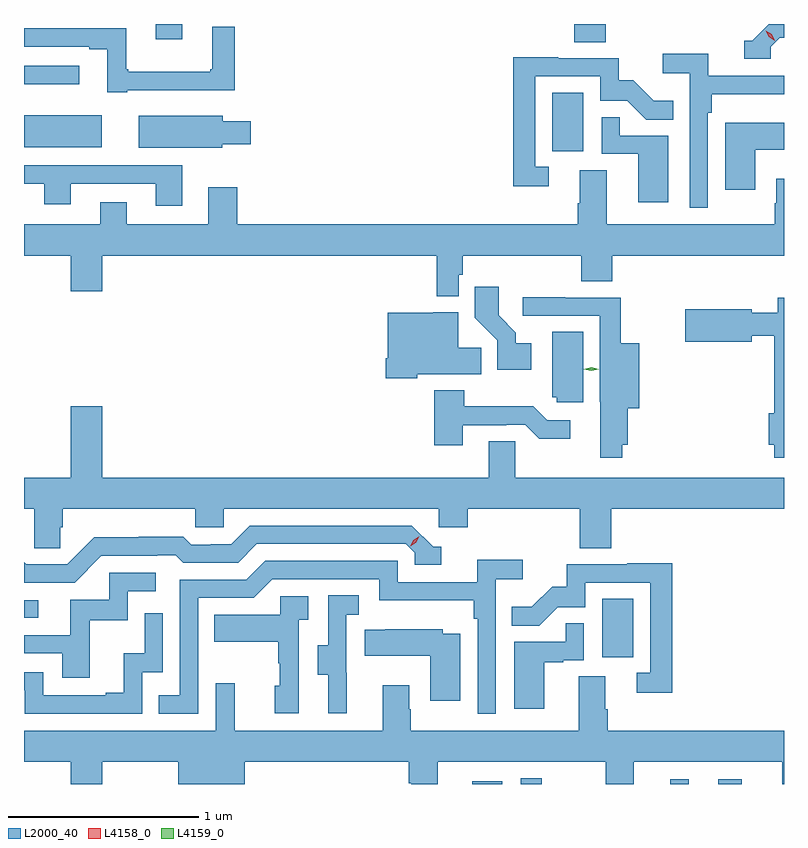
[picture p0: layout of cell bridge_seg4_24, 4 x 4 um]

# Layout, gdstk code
import gdstk
lib = gdstk.Library(unit=1e-6, precision=1e-09)
def R(c, l, rs):  # rectangles x0, y0, x1, y1
    for r in rs: c.add(gdstk.rectangle(r[:2], r[2:], *l))
def P(c, l, *ps):  # polygons
    for p in ps: c.add(gdstk.Polygon(p, *l))
L2000_40 = (2000, 40)
L4158_0 = (4158, 0)
L4159_0 = (4159, 0)

bridge_seg4_24 = lib.new_cell('bridge_seg4_24')
R(bridge_seg4_24, L2000_40, [(1102.184,784.715,1102.342,784.729), (1102.44,784.715,1102.549,784.744), (1103.225,784.715,1103.323,784.741), (1103.478,784.715,1103.602,784.741), (1102.868,785.382,1103.032,785.689), (1099.825,785.589,1099.9,785.682), (1102.604,788.046,1102.768,788.353), (1099.826,788.066,1100.233,788.236), (1099.825,788.399,1100.116,788.496), (1102.721,788.62,1102.886,788.715), (1100.519,788.634,1100.659,788.715)])
P(bridge_seg4_24, L2000_40, [(1103.754,788.595),(1103.802,788.643),(1103.825,788.643),(1103.825,788.715),(1103.745,788.715),(1103.658,788.628),(1103.615,788.628),(1103.615,788.532),(1103.754,788.532)],
  [(1100.368,788.366),(1100.933,788.366),(1100.933,788.701),(1100.816,788.701),(1100.816,788.476),(1100.805,788.476),(1100.805,788.464),(1100.374,788.464),(1100.374,788.476),(1100.362,788.476),(1100.362,788.692),(1099.825,788.692),(1099.825,788.595),(1100.168,788.595),(1100.168,788.583),(1100.264,788.583),(1100.264,788.355),(1100.368,788.355)],
  [(1103.424,788.249),(1103.444,788.249),(1103.444,788.345),(1103.825,788.345),(1103.825,788.442),(1103.426,788.442),(1103.426,788.558),(1103.187,788.558),(1103.187,788.456),(1103.328,788.456),(1103.328,787.749),(1103.424,787.749)],
  [(1102.588,787.965),(1102.515,787.965),(1102.515,788.439),(1102.857,788.439),(1102.857,788.31),(1103.001,788.31),(1103.099,788.212),(1103.243,788.212),(1103.243,788.311),(1103.139,788.311),(1103.032,788.418),(1102.956,788.418),(1102.956,788.535),(1102.637,788.535),(1102.637,788.54),(1102.399,788.54),(1102.399,787.86),(1102.588,787.86)],
  [(1100.868,788.081),(1101.019,788.081),(1101.019,788.203),(1100.872,788.203),(1100.872,788.233),(1100.429,788.233),(1100.429,788.063),(1100.868,788.063)],
  [(1103.215,788.127),(1102.961,788.127),(1102.961,788.225),(1102.866,788.225),(1102.866,788.031),(1103.057,788.031),(1103.057,787.776),(1103.215,787.776)],
  [(1103.674,788.054),(1103.825,788.054),(1103.825,788.194),(1103.516,788.194),(1103.516,787.842),(1103.674,787.842)],
  [(1100.659,787.971),(1099.825,787.971),(1099.825,787.875),(1099.931,787.875),(1099.931,787.766),(1100.071,787.766),(1100.071,787.875),(1100.519,787.875),(1100.519,787.758),(1100.659,787.758)],
  [(1102.113,787.395),(1102.133,787.395),(1102.133,787.496),(1102.757,787.496),(1102.757,787.36),(1102.922,787.36),(1102.922,787.496),(1103.825,787.496),(1103.825,787.9),(1103.783,787.9),(1103.783,787.772),(1103.776,787.772),(1103.776,787.66),(1102.891,787.66),(1102.891,787.946),(1102.751,787.946),(1102.751,787.772),(1102.739,787.772),(1102.739,787.66),(1100.948,787.66),(1100.948,787.855),(1100.795,787.855),(1100.795,787.66),(1100.365,787.66),(1100.365,787.777),(1100.225,787.777),(1100.225,787.66),(1099.825,787.66),(1099.825,787.496),(1100.072,787.496),(1100.072,787.308),(1100.236,787.308),(1100.236,787.496),(1101.997,787.496),(1101.997,787.283),(1102.113,787.283)],
  [(1102.495,787.036),(1102.414,787.036),(1102.414,787.091),(1102.324,787.181),(1102.324,787.333),(1102.198,787.333),(1102.198,787.17),(1102.317,787.051),(1102.317,786.896),(1102.495,786.896)],
  [(1102.973,786.5),(1103.003,786.5),(1103.003,786.692),(1103.062,786.692),(1103.062,787.036),(1102.966,787.036),(1102.966,787.275),(1102.673,787.275),(1102.673,787.278),(1102.449,787.278),(1102.449,787.179),(1102.856,787.179),(1102.856,786.726),(1102.857,786.726),(1102.857,786.432),(1102.973,786.432)],
  [(1103.825,787.275),(1103.792,787.275),(1103.792,787.195),(1103.656,787.195),(1103.656,787.213),(1103.304,787.213),(1103.304,787.043),(1103.656,787.043),(1103.656,787.074),(1103.773,787.074),(1103.773,786.666),(1103.744,786.666),(1103.744,786.5),(1103.773,786.5),(1103.773,786.432),(1103.825,786.432)],
  [(1101.894,786.872),(1102.232,786.872),(1102.232,787.01),(1102.111,787.01),(1102.111,787.198),(1101.978,787.198),(1101.978,787.195),(1101.74,787.195),(1101.74,786.955),(1101.728,786.955),(1101.728,786.851),(1101.894,786.851)],
  [(1102.768,787.094),(1102.604,787.094),(1102.604,786.75),(1102.629,786.75),(1102.629,786.723),(1102.768,786.723)],
  [(1102.135,786.603),(1102.364,786.603),(1102.364,786.606),(1102.464,786.606),(1102.537,786.533),(1102.699,786.533),(1102.699,786.63),(1102.578,786.63),(1102.505,786.703),(1102.143,786.703),(1102.143,786.787),(1101.983,786.787),(1101.983,786.498),(1102.135,786.498)],
  [(1100.015,786.066),(1100.03,786.066),(1100.03,786.164),(1100.727,786.164),(1100.727,786.066),(1100.877,786.066),(1100.877,786.164),(1102.008,786.164),(1102.008,786.066),(1102.16,786.066),(1102.16,786.164),(1102.751,786.164),(1102.751,785.956),(1102.916,785.956),(1102.916,786.164),(1103.825,786.164),(1103.825,786.328),(1102.41,786.328),(1102.41,786.518),(1102.271,786.518),(1102.271,786.328),(1100.236,786.328),(1100.236,786.703),(1100.072,786.703),(1100.072,786.328),(1099.825,786.328),(1099.825,786.164),(1099.878,786.164),(1099.878,785.956),(1100.015,785.956)],
  [(1100.232,785.916),(1100.525,785.916),(1100.525,785.919),(1100.624,785.919),(1100.663,785.88),(1100.952,785.88),(1101.051,785.979),(1101.834,785.979),(1101.882,785.931),(1101.882,785.868),(1102.021,785.868),(1102.021,785.964),(1101.978,785.964),(1101.867,786.075),(1101.014,786.075),(1100.915,785.976),(1100.808,785.976),(1100.808,785.973),(1100.705,785.973),(1100.663,786.016),(1100.43,786.016),(1100.43,786.013),(1100.194,786.013),(1100.052,785.871),(1099.836,785.871),(1099.825,785.882),(1099.825,785.775),(1100.091,785.775)],
  [(1100.742,785.694),(1101.033,785.694),(1101.132,785.793),(1101.696,785.793),(1101.696,785.681),(1102.192,785.681),(1102.192,785.585),(1102.212,785.585),(1102.212,785.085),(1102.308,785.085),(1102.308,785.792),(1102.45,785.792),(1102.45,785.894),(1102.211,785.894),(1102.211,785.778),(1101.792,785.778),(1101.792,785.889),(1101.095,785.889),(1100.996,785.79),(1100.646,785.79),(1100.646,785.181),(1100.533,785.181),(1100.533,785.085),(1100.742,785.085)],
  [(1103.237,785.876),(1102.999,785.876),(1102.999,785.871),(1102.681,785.871),(1102.681,785.754),(1102.604,785.754),(1102.497,785.647),(1102.393,785.647),(1102.393,785.548),(1102.537,785.548),(1102.635,785.646),(1102.779,785.646),(1102.779,785.775),(1103.121,785.775),(1103.121,785.301),(1103.049,785.301),(1103.049,785.196),(1103.237,785.196)],
  [(1100.171,785.577),(1100.37,785.577),(1100.37,785.73),(1100.518,785.73),(1100.518,785.826),(1100.274,785.826),(1100.274,785.685),(1100.069,785.685),(1100.069,785.499),(1099.825,785.499),(1099.825,785.403),(1100.027,785.403),(1100.027,785.274),(1100.171,785.274)],
  [(1101.524,785.301),(1101.522,785.301),(1101.522,785.605),(1101.586,785.605),(1101.586,785.708),(1101.426,785.708),(1101.426,785.445),(1101.371,785.445),(1101.371,785.29),(1101.425,785.29),(1101.425,785.088),(1101.524,785.088)],
  [(1101.27,785.579),(1101.322,785.579),(1101.322,785.703),(1101.174,785.703),(1101.174,785.605),(1100.827,785.605),(1100.827,785.465),(1101.162,785.465),(1101.162,785.351),(1101.172,785.351),(1101.172,785.232),(1101.146,785.232),(1101.146,785.088),(1101.27,785.088)],
  [(1100.448,785.304),(1100.556,785.304),(1100.556,785.614),(1100.46,785.614),(1100.46,785.402),(1100.351,785.402),(1100.351,785.194),(1100.255,785.194),(1100.255,785.181),(1099.926,785.181),(1099.926,785.304),(1099.825,785.304),(1099.825,785.208),(1099.83,785.208),(1099.83,785.085),(1100.448,785.085)],
  [(1102.564,785.355),(1102.664,785.355),(1102.664,785.367),(1102.77,785.367),(1102.77,785.561),(1102.675,785.561),(1102.675,785.463),(1102.406,785.463),(1102.406,785.112),(1102.564,785.112)],
  [(1102.12,785.506),(1102.029,785.506),(1102.029,785.53),(1101.727,785.53),(1101.727,785.527),(1101.619,785.527),(1101.619,785.39),(1101.962,785.39),(1101.962,785.154),(1102.12,785.154)],
  [(1100.236,784.832),(1100.636,784.832),(1100.636,784.715),(1100.986,784.715),(1100.986,784.832),(1101.851,784.832),(1101.851,784.72),(1101.863,784.72),(1101.863,784.715),(1102.003,784.715),(1102.003,784.832),(1102.888,784.832),(1102.888,784.715),(1103.035,784.715),(1103.035,784.832),(1103.816,784.832),(1103.816,784.715),(1103.825,784.715),(1103.825,784.996),(1102.898,784.996),(1102.898,785.108),(1102.885,785.108),(1102.885,785.282),(1102.745,785.282),(1102.745,784.996),(1101.861,784.996),(1101.861,785.108),(1101.853,785.108),(1101.853,785.236),(1101.713,785.236),(1101.713,784.996),(1100.933,784.996),(1100.933,785.245),(1100.835,785.245),(1100.835,784.996),(1099.825,784.996),(1099.825,784.832),(1100.072,784.832),(1100.072,784.715),(1100.236,784.715)])
P(bridge_seg4_24, L4158_0, [(1103.776,788.628),(1103.745,788.647),(1103.729,788.679),(1103.729,788.68),(1103.729,788.68),(1103.76,788.66),(1103.776,788.628),(1103.776,788.628)],
  [(1101.857,785.966),(1101.857,785.966),(1101.873,785.999),(1101.904,786.018),(1101.904,786.018),(1101.904,786.018),(1101.888,785.985),(1101.857,785.966)])
P(bridge_seg4_24, L4159_0, [(1102.811,786.889),(1102.772,786.899),(1102.772,786.899),(1102.772,786.899),(1102.812,786.909),(1102.85,786.899),(1102.851,786.898),(1102.85,786.898)])

lib.write_gds('bridge_seg4_24.gds')
